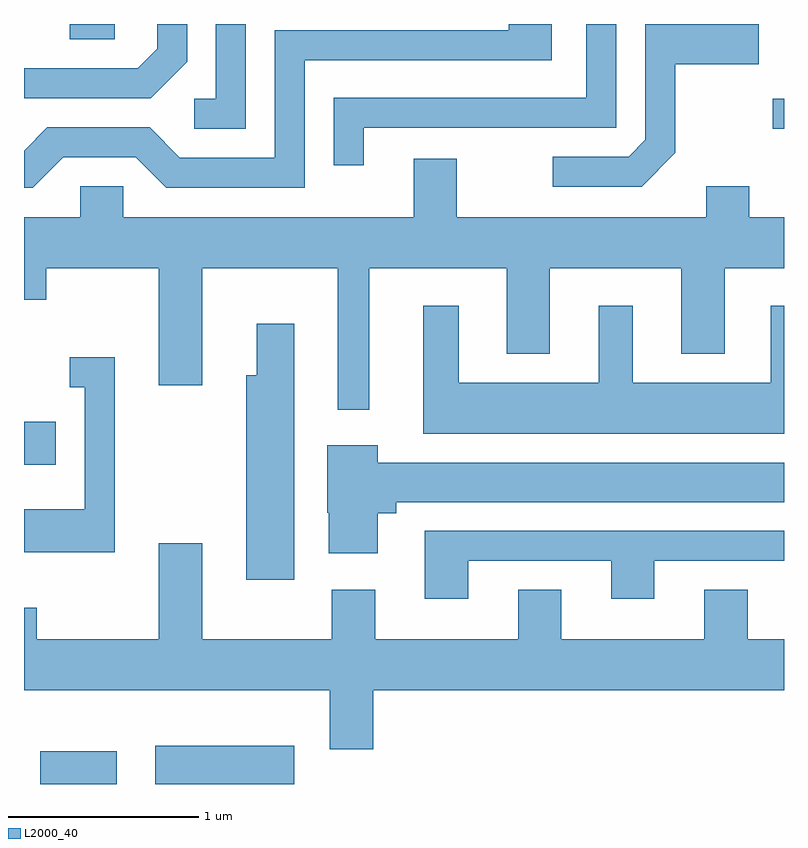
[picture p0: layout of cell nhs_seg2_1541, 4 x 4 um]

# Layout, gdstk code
import gdstk
lib = gdstk.Library(unit=1e-6, precision=1e-09)
def R(c, l, rs):  # rectangles x0, y0, x1, y1
    for r in rs: c.add(gdstk.rectangle(r[:2], r[2:], *l))
def P(c, l, *ps):  # polygons
    for p in ps: c.add(gdstk.Polygon(p, *l))
L2000_40 = (2000, 40)

nhs_seg2_1541 = lib.new_cell('nhs_seg2_1541')
R(nhs_seg2_1541, L2000_40, [(229.696,1067.802,230.099,1067.974), (230.301,1067.802,231.034,1068.004), (229.611,1069.481,229.779,1069.709), (233.553,1071.251,233.611,1071.409), (229.851,1071.721,230.089,1071.802)])
P(nhs_seg2_1541, L2000_40, [(233.039,1071.124),(233.039,1071.591),(233.479,1071.591),(233.479,1071.802),(232.881,1071.802),(232.881,1071.192),(232.794,1071.104),(232.393,1071.104),(232.393,1070.946),(232.862,1070.946)],
  [(231.399,1071.256),(232.729,1071.256),(232.729,1071.802),(232.571,1071.802),(232.571,1071.414),(231.241,1071.414),(231.241,1071.058),(231.399,1071.058)],
  [(230.469,1071.604),(230.469,1071.802),(230.311,1071.802),(230.311,1071.672),(230.209,1071.569),(229.611,1071.569),(229.611,1071.411),(230.277,1071.411)],
  [(230.779,1071.802),(230.621,1071.802),(230.621,1071.409),(230.508,1071.409),(230.508,1071.251),(230.779,1071.251)],
  [(229.817,1071.101),(230.199,1071.101),(230.359,1070.941),(231.089,1070.941),(231.089,1071.611),(232.389,1071.611),(232.389,1071.802),(232.161,1071.802),(232.161,1071.769),(230.931,1071.769),(230.931,1071.099),(230.432,1071.099),(230.272,1071.259),(229.734,1071.259),(229.611,1071.136),(229.611,1070.941),(229.657,1070.941)],
  [(231.429,1070.516),(232.151,1070.516),(232.151,1070.066),(232.379,1070.066),(232.379,1070.516),(233.071,1070.516),(233.071,1070.066),(233.299,1070.066),(233.299,1070.516),(233.611,1070.516),(233.611,1070.784),(233.429,1070.784),(233.429,1070.949),(233.201,1070.949),(233.201,1070.784),(231.889,1070.784),(231.889,1071.094),(231.661,1071.094),(231.661,1070.784),(230.134,1070.784),(230.134,1070.949),(229.906,1070.949),(229.906,1070.784),(229.611,1070.784),(229.611,1070.351),(229.729,1070.351),(229.729,1070.516),(230.321,1070.516),(230.321,1069.901),(230.549,1069.901),(230.549,1070.516),(231.261,1070.516),(231.261,1069.773),(231.429,1069.773)],
  [(233.611,1070.319),(233.541,1070.319),(233.541,1069.914),(232.814,1069.914),(232.814,1070.319),(232.636,1070.319),(232.636,1069.914),(231.899,1069.914),(231.899,1070.319),(231.711,1070.319),(231.711,1069.646),(233.611,1069.646)],
  [(231.034,1070.224),(230.836,1070.224),(230.836,1069.954),(230.781,1069.954),(230.781,1068.876),(231.034,1068.876)],
  [(230.089,1070.049),(229.853,1070.049),(229.853,1069.891),(229.931,1069.891),(229.931,1069.249),(229.611,1069.249),(229.611,1069.021),(230.089,1069.021)],
  [(231.474,1069.226),(231.569,1069.226),(231.569,1069.286),(233.611,1069.286),(233.611,1069.494),(231.474,1069.494),(231.474,1069.584),(231.206,1069.584),(231.206,1069.23),(231.216,1069.23),(231.216,1069.016),(231.474,1069.016)],
  [(231.949,1068.976),(232.701,1068.976),(232.701,1068.776),(232.929,1068.776),(232.929,1068.976),(233.611,1068.976),(233.611,1069.134),(231.721,1069.134),(231.721,1068.776),(231.949,1068.776)],
  [(231.449,1068.296),(233.611,1068.296),(233.611,1068.564),(233.419,1068.564),(233.419,1068.824),(233.191,1068.824),(233.191,1068.564),(232.439,1068.564),(232.439,1068.824),(232.211,1068.824),(232.211,1068.564),(231.459,1068.564),(231.459,1068.824),(231.231,1068.824),(231.231,1068.564),(230.549,1068.564),(230.549,1069.069),(230.321,1069.069),(230.321,1068.564),(229.679,1068.564),(229.679,1068.729),(229.611,1068.729),(229.611,1068.296),(231.221,1068.296),(231.221,1067.986),(231.449,1067.986)])

lib.write_gds('nhs_seg2_1541.gds')
